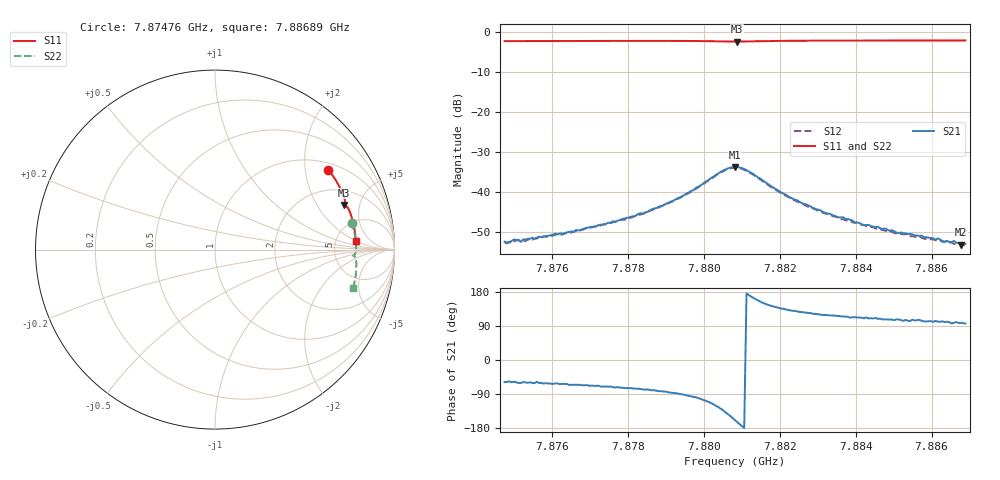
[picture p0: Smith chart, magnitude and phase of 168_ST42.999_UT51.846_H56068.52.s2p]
#  HZ  S  DB  R  50.00
! Rohde & Schwarz Vector Network Analyzer
! Rohde-Schwarz,ZNB20-2Port,1311601062101988,3.16
! Created: UTC 1/12/2023, 6:41:49 PM
! freq[Hz]  db:S11  ang:S11  db:S21  ang:S21  db:S12  ang:S12  db:S22  ang:S22
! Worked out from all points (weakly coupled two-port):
!   201 points, 7.87476 GHz to 7.88689 GHz, reference 50 ohm
!   highest |S21| = -33.76 dB at 7.88083 GHz (marker M1); lowest = -53.2 dB at 7.88677 GHz (marker M2)
!   lowest |S11| = -2.4 dB at 7.88089 GHz (marker M3), VSWR 7.42, Z = 150 + j178 ohm
!   |S11| at or under -10 dB: nowhere
!   |S22| runs from -2.3 to -1.9 dB; largest |S21 - S12| = 0.0013
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7.87476e9  -2.24 35.1  -52.46 -58.1  -52.68 -59.9  -2.18 11.2
7.875002e9  -2.24 34.4  -51.90 -57.3  -52.43 -60.6  -2.17 10.6
7.875184e9  -2.23 34.0  -52.52 -60.9  -52.17 -63.6  -2.17 10.1
7.875245e9  -2.23 33.8  -51.94 -58.3  -52.14 -62.7  -2.17 10.0
7.876822e9  -2.20 29.5  -49.27 -66.8  -49.48 -70.5  -2.13 6.3
7.877671e9  -2.19 27.2  -47.55 -72.6  -47.42 -75.0  -2.11 4.3
7.878824e9  -2.19 23.9  -43.66 -82.3  -43.92 -85.7  -2.09 1.6
7.879733e9  -2.21 21.3  -39.53 -97.5  -39.56 -100.5  -2.10 -0.7
7.880583e9  -2.33 19.3  -34.36 -138.4  -34.48 -141.3  -2.23 -2.5
7.880825e9  -2.35 19.1  -33.76 -158.6  -33.96 -161.9  -2.25 -2.5
7.880886e9  -2.36 19.0  -33.78 -164.4  -33.97 -167.4  -2.25 -2.5
7.88125e9  -2.29 18.6  -35.18 167.2  -35.41 163.9  -2.19 -2.8
7.882281e9  -2.16 15.8  -41.42 130.8  -41.59 127.6  -2.04 -5.0
7.882887e9  -2.14 14.1  -44.08 121.5  -44.17 118.8  -2.02 -6.5
7.883979e9  -2.12 11.2  -47.68 112.9  -47.76 109.0  -1.99 -9.0
7.884889e9  -2.10 8.8  -49.74 106.6  -50.02 104.6  -1.97 -11.0
7.886102e9  -2.09 5.6  -51.99 102.8  -52.12 100.3  -1.95 -13.6
7.886163e9  -2.09 5.4  -51.66 101.5  -52.31 98.1  -1.95 -13.9
7.886345e9  -2.09 5.0  -52.46 100.1  -52.47 97.0  -1.95 -14.2
7.886587e9  -2.09 4.3  -52.29 98.2  -53.06 96.0  -1.95 -14.7
7.886769e9  -2.08 3.8  -53.19 98.2  -52.97 95.4  -1.95 -15.1
7.886891e9  -2.08 3.5  -53.01 96.3  -53.59 94.3  -1.95 -15.3
